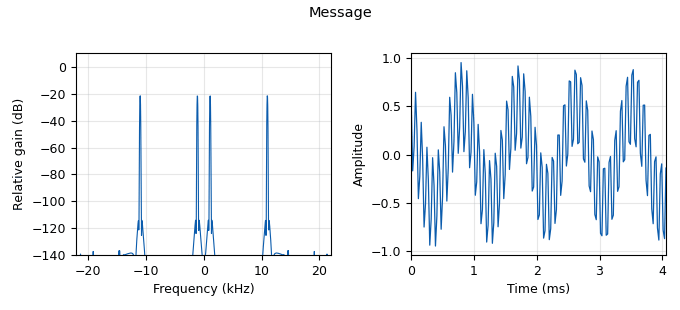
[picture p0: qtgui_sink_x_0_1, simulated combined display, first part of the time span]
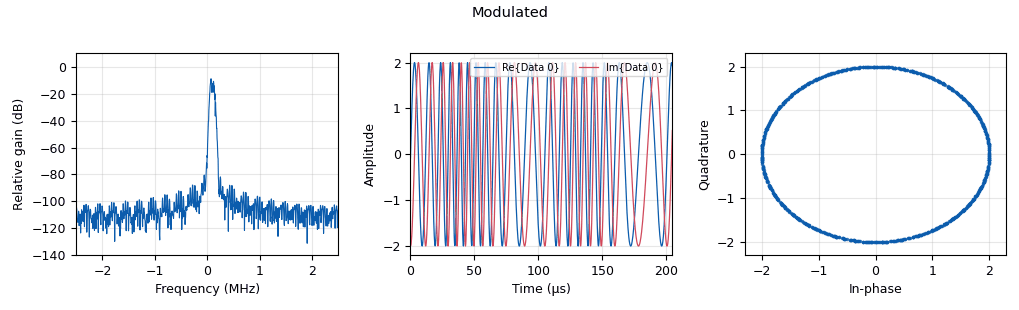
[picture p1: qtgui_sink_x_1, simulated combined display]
options:
  parameters:
    generate_options: qt_gui
    id: part2
    output_language: python
    title: task2
  states: {}

blocks:
- name: samp_msg
  id: variable
  parameters:
    value: '44100'
  states: {}
- name: samp_rate
  id: variable
  parameters:
    value: '5000000'
  states: {}
- name: analog_noise_source_x_0
  id: analog_noise_source_x
  parameters:
    amp: '1'
    noise_type: analog.GR_GAUSSIAN
    seed: '0'
    type: complex
  states: {}
- name: analog_phase_modulator_fc_0
  id: analog_phase_modulator_fc
  parameters:
    sensitivity: 2*3.14*75*1000
  states: {}
- name: analog_sig_source_x_0
  id: analog_sig_source_x
  parameters:
    amp: '0.5'
    freq: '1100'
    offset: '0'
    phase: '0'
    samp_rate: samp_msg
    type: float
    waveform: analog.GR_COS_WAVE
  states: {}
- name: analog_sig_source_x_1
  id: analog_sig_source_x
  parameters:
    amp: '0.5'
    freq: '11000'
    offset: '0'
    phase: '0'
    samp_rate: samp_msg
    type: float
    waveform: analog.GR_COS_WAVE
  states: {}
- name: analog_sig_source_x_1_0
  id: analog_sig_source_x
  parameters:
    amp: '2'
    freq: '100000'
    offset: '0'
    phase: '0'
    samp_rate: samp_rate
    type: complex
    waveform: analog.GR_COS_WAVE
  states: {}
- name: blocks_add_xx_0
  id: blocks_add_xx
  parameters:
    type: complex
  states: {}
- name: blocks_add_xx_1
  id: blocks_add_xx
  parameters:
    type: float
  states: {}
- name: blocks_multiply_xx_0
  id: blocks_multiply_xx
  parameters:
    type: complex
  states: {}
- name: blocks_throttle2_1
  id: blocks_throttle2
  parameters:
    samples_per_second: samp_rate
    type: float
  states: {}
- name: blocks_throttle_0
  id: blocks_throttle
  parameters:
    samples_per_second: samp_rate
    type: complex
  states: {}
- name: iir_filter_xxx_0
  id: iir_filter_xxx
  parameters:
    fbtaps: '[1,1]'
    fftaps: '[0,1/samp_msg]'
    type: ffd
  states: {}
- name: qtgui_sink_x_0_1
  id: qtgui_sink_x
  parameters:
    bw: samp_msg
    fc: '0'
    fftsize: '1024'
    gui_hint: tab@0
    name: Message
    type: float
  states: {}
- name: qtgui_sink_x_1
  id: qtgui_sink_x
  parameters:
    bw: samp_rate
    fc: '0'
    fftsize: '1024'
    gui_hint: tab@1
    name: Modulated
    type: complex
  states: {}
- name: rational_resampler_xxx_0
  id: rational_resampler_xxx
  parameters:
    decim: samp_msg
    interp: samp_rate
    taps: ''
    type: fff
  states: {}
- name: tab
  id: qtgui_tab_widget
  parameters:
    label0: Message
    label1: Modulated
    label2: Demodulated
    num_tabs: '3'
  states: {}

connections:
- [analog_noise_source_x_0, '0', blocks_add_xx_0, '1']
- [analog_phase_modulator_fc_0, '0', blocks_multiply_xx_0, '0']
- [analog_sig_source_x_0, '0', blocks_add_xx_1, '0']
- [analog_sig_source_x_1, '0', blocks_add_xx_1, '1']
- [analog_sig_source_x_1_0, '0', blocks_multiply_xx_0, '1']
- [blocks_add_xx_1, '0', blocks_throttle2_1, '0']
- [blocks_add_xx_1, '0', iir_filter_xxx_0, '0']
- [blocks_multiply_xx_0, '0', blocks_add_xx_0, '0']
- [blocks_multiply_xx_0, '0', blocks_throttle_0, '0']
- [blocks_throttle2_1, '0', qtgui_sink_x_0_1, '0']
- [blocks_throttle_0, '0', qtgui_sink_x_1, '0']
- [iir_filter_xxx_0, '0', rational_resampler_xxx_0, '0']
- [rational_resampler_xxx_0, '0', analog_phase_modulator_fc_0, '0']

metadata:
  file_format: 1
  grc_version: 3.10.9.2
